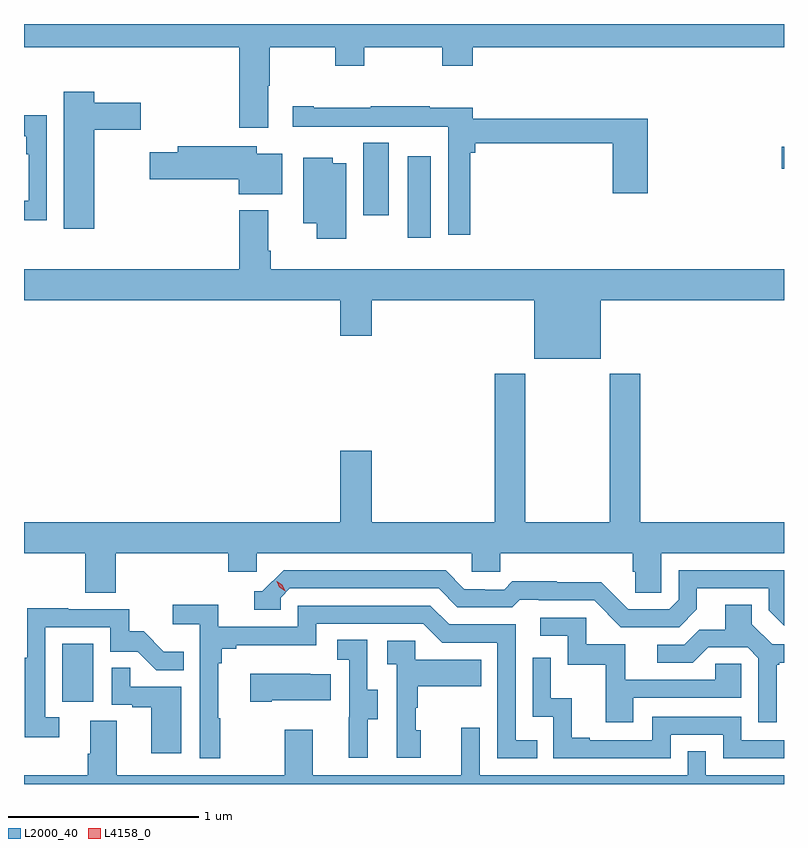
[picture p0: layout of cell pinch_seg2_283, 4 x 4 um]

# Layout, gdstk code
import gdstk
lib = gdstk.Library(unit=1e-6, precision=1e-09)
def R(c, l, rs):  # rectangles x0, y0, x1, y1
    for r in rs: c.add(gdstk.rectangle(r[:2], r[2:], *l))
def P(c, l, *ps):  # polygons
    for p in ps: c.add(gdstk.Polygon(p, *l))
L2000_40 = (2000, 40)
L4158_0 = (4158, 0)

pinch_seg2_283 = lib.new_cell('pinch_seg2_283')
R(pinch_seg2_283, L2000_40, [(906.8,641.526,906.964,641.833), (908.618,643.968,908.74,644.398), (908.384,644.088,908.518,644.468), (910.586,644.331,910.599,644.449)])
P(pinch_seg2_283, L2000_40, [(907.885,644.768),(907.893,644.768),(907.893,644.972),(908.236,644.972),(908.236,644.873),(908.391,644.873),(908.391,644.972),(908.8,644.972),(908.8,644.873),(908.96,644.873),(908.96,644.972),(910.599,644.972),(910.599,645.094),(906.599,645.094),(906.599,644.972),(907.733,644.972),(907.733,644.547),(907.885,644.547)],
  [(906.97,644.537),(907.213,644.537),(907.213,644.679),(906.97,644.679),(906.97,644.737),(906.809,644.737),(906.809,644.016),(906.97,644.016)],
  [(908.948,644.417),(908.975,644.417),(908.975,644.467),(909.698,644.467),(909.698,644.202),(909.881,644.202),(909.881,644.596),(908.962,644.596),(908.962,644.652),(908.735,644.652),(908.735,644.662),(908.425,644.662),(908.425,644.652),(908.125,644.652),(908.125,644.662),(908.013,644.662),(908.013,644.552),(908.288,644.552),(908.288,644.553),(908.622,644.553),(908.622,644.552),(908.832,644.552),(908.832,643.986),(908.948,643.986)],
  [(906.72,644.614),(906.599,644.614),(906.599,644.504),(906.611,644.504),(906.611,644.408),(906.624,644.408),(906.624,644.163),(906.599,644.163),(906.599,644.062),(906.72,644.062)],
  [(907.957,644.41),(907.824,644.41),(907.824,644.45),(907.409,644.45),(907.409,644.42),(907.26,644.42),(907.26,644.278),(907.73,644.278),(907.73,644.198),(907.957,644.198)],
  [(908.296,644.362),(908.223,644.362),(908.223,644.389),(908.069,644.389),(908.069,644.045),(908.141,644.045),(908.141,643.965),(908.296,643.965)],
  [(909.634,643.64),(910.599,643.64),(910.599,643.804),(907.898,643.804),(907.898,643.9),(907.885,643.9),(907.885,644.113),(907.733,644.113),(907.733,643.804),(906.599,643.804),(906.599,643.64),(908.264,643.64),(908.264,643.452),(908.428,643.452),(908.428,643.64),(909.284,643.64),(909.284,643.331),(909.634,643.331)],
  [(907.082,642.308),(907.673,642.308),(907.673,642.21),(907.824,642.21),(907.824,642.308),(908.955,642.308),(908.955,642.21),(909.105,642.21),(909.105,642.308),(909.803,642.308),(909.803,642.21),(909.817,642.21),(909.817,642.1),(909.954,642.1),(909.954,642.308),(910.599,642.308),(910.599,642.472),(909.842,642.472),(909.842,643.252),(909.682,643.252),(909.682,642.472),(909.237,642.472),(909.237,643.252),(909.077,643.252),(909.077,642.472),(908.428,642.472),(908.428,642.847),(908.264,642.847),(908.264,642.472),(906.599,642.472),(906.599,642.308),(906.922,642.308),(906.922,642.1),(907.082,642.1)],
  [(910.141,642.013),(910.141,642.123),(910.518,642.123),(910.518,642.009),(910.599,641.928),(910.599,642.219),(910.044,642.219),(910.044,642.063),(909.996,642.015),(909.78,642.015),(909.638,642.157),(909.402,642.157),(909.402,642.16),(909.169,642.16),(909.127,642.117),(909.024,642.117),(909.024,642.12),(908.917,642.12),(908.818,642.219),(907.965,642.219),(907.854,642.108),(907.811,642.108),(907.811,642.012),(907.95,642.012),(907.95,642.075),(907.998,642.123),(908.781,642.123),(908.88,642.024),(909.169,642.024),(909.208,642.063),(909.307,642.063),(909.307,642.06),(909.6,642.06),(909.741,641.919),(910.047,641.919)],
  [(907.633,641.441),(907.621,641.441),(907.621,641.729),(907.64,641.729),(907.64,641.806),(907.717,641.806),(907.717,641.825),(908.136,641.825),(908.136,641.937),(908.7,641.937),(908.799,641.838),(909.09,641.838),(909.09,641.229),(909.299,641.229),(909.299,641.325),(909.186,641.325),(909.186,641.934),(908.836,641.934),(908.737,642.033),(908.04,642.033),(908.04,641.922),(907.622,641.922),(907.622,642.038),(907.383,642.038),(907.383,641.936),(907.524,641.936),(907.524,641.229),(907.633,641.229)],
  [(910.561,641.721),(910.573,641.721),(910.573,641.732),(910.599,641.732),(910.599,641.829),(910.536,641.829),(910.429,641.936),(910.429,642.038),(910.289,642.038),(910.289,641.906),(910.154,641.906),(910.074,641.826),(909.933,641.826),(909.933,641.733),(910.12,641.733),(910.201,641.814),(910.407,641.814),(910.464,641.757),(910.464,641.418),(910.561,641.418)],
  [(906.784,641.445),(906.711,641.445),(906.711,641.919),(907.053,641.919),(907.053,641.79),(907.197,641.79),(907.295,641.692),(907.439,641.692),(907.439,641.791),(907.335,641.791),(907.228,641.898),(907.152,641.898),(907.152,642.015),(906.833,642.015),(906.833,642.02),(906.615,642.02),(906.615,641.759),(906.603,641.759),(906.603,641.34),(906.784,641.34)],
  [(909.805,641.547),(910.374,641.547),(910.374,641.727),(910.237,641.727),(910.237,641.643),(909.763,641.643),(909.763,641.829),(909.558,641.829),(909.558,641.97),(909.315,641.97),(909.315,641.874),(909.462,641.874),(909.462,641.721),(909.661,641.721),(909.661,641.418),(909.805,641.418)],
  [(908.407,641.434),(908.461,641.434),(908.461,641.589),(908.406,641.589),(908.406,641.852),(908.247,641.852),(908.247,641.749),(908.31,641.749),(908.31,641.445),(908.309,641.445),(908.309,641.232),(908.407,641.232)],
  [(908.686,641.376),(908.661,641.376),(908.661,641.495),(908.671,641.495),(908.671,641.609),(909.005,641.609),(909.005,641.749),(908.658,641.749),(908.658,641.847),(908.511,641.847),(908.511,641.723),(908.562,641.723),(908.562,641.232),(908.686,641.232)],
  [(910.002,641.352),(910.278,641.352),(910.278,641.229),(910.599,641.229),(910.599,641.325),(910.374,641.325),(910.374,641.448),(909.906,641.448),(909.906,641.325),(909.577,641.325),(909.577,641.338),(909.482,641.338),(909.482,641.546),(909.372,641.546),(909.372,641.758),(909.276,641.758),(909.276,641.448),(909.384,641.448),(909.384,641.229),(910.002,641.229)],
  [(907.426,641.607),(907.157,641.607),(907.157,641.705),(907.062,641.705),(907.062,641.511),(907.169,641.511),(907.169,641.499),(907.268,641.499),(907.268,641.256),(907.426,641.256)],
  [(907.903,641.534),(908.213,641.534),(908.213,641.671),(908.105,641.671),(908.105,641.674),(907.791,641.674),(907.791,641.527),(907.903,641.527)],
  [(910.599,641.14),(910.188,641.14),(910.188,641.267),(910.092,641.267),(910.092,641.14),(908.997,641.14),(908.997,641.389),(908.9,641.389),(908.9,641.14),(908.119,641.14),(908.119,641.38),(907.972,641.38),(907.972,641.14),(907.087,641.14),(907.087,641.426),(906.947,641.426),(906.947,641.252),(906.935,641.252),(906.935,641.14),(906.599,641.14),(906.599,641.094),(910.599,641.094)])
P(pinch_seg2_283, L4158_0, [(907.974,642.109),(907.943,642.129),(907.928,642.162),(907.928,642.162),(907.928,642.162),(907.958,642.142),(907.974,642.109),(907.974,642.109)])

lib.write_gds('pinch_seg2_283.gds')
